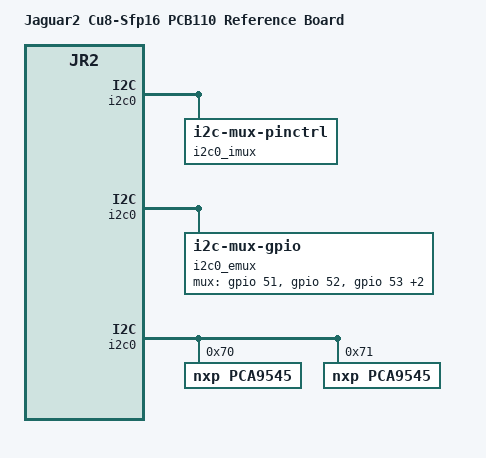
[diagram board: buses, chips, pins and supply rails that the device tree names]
// SPDX-License-Identifier: (GPL-2.0+ OR MIT)
/*
 * Copyright (c) 2020 Microsemi Corporation
 */

/dts-v1/;
#include "jaguar2_common.dtsi"
#include <dt-bindings/gpio/gpio.h>

/ {
	model = "Jaguar2 Cu8-Sfp16 PCB110 Reference Board";
	compatible = "mscc,jr2-pcb110", "mscc,jr2";

	aliases {
		i2c0    = &i2c0;
		i2c108  = &i2c108;
		i2c109  = &i2c109;
		i2c110  = &i2c110;
		i2c111  = &i2c111;
		i2c112  = &i2c112;
		i2c113  = &i2c113;
		i2c114  = &i2c114;
		i2c115  = &i2c115;
		i2c116  = &i2c116;
		i2c117  = &i2c117;
		i2c118  = &i2c118;
		i2c119  = &i2c119;
		i2c120  = &i2c120;
		i2c121  = &i2c121;
		i2c122  = &i2c122;
		i2c123  = &i2c123;
		i2c124  = &i2c124;
		i2c125  = &i2c125;
		i2c126  = &i2c126;
		i2c127  = &i2c127;
		i2c128  = &i2c128;
		i2c129  = &i2c129;
		i2c130  = &i2c130;
		i2c131  = &i2c131;
		i2c149  = &i2c149;
		i2c150  = &i2c150;
		i2c151  = &i2c151;
		i2c152  = &i2c152;
	};
	i2c0_imux: i2c0-imux {
		compatible = "i2c-mux-pinctrl";
		#address-cells = <1>;
		#size-cells = <0>;
		i2c-parent = <&i2c0>;
		pinctrl-names =
			"i2c149", "i2c150", "i2c151", "i2c152", "idle";
		pinctrl-0 = <&i2cmux_0>;
		pinctrl-1 = <&i2cmux_1>;
		pinctrl-2 = <&i2cmux_2>;
		pinctrl-3 = <&i2cmux_3>;
		pinctrl-4 = <&i2cmux_pins_i>;
		i2c149: i2c@0 {
			reg = <0x0>;
			#address-cells = <1>;
			#size-cells = <0>;
		};
		i2c150: i2c@1 {
			reg = <0x1>;
			#address-cells = <1>;
			#size-cells = <0>;
		};
		i2c151: i2c@2 {
			reg = <0x2>;
			#address-cells = <1>;
			#size-cells = <0>;
		};
		i2c152: i2c@3 {
			reg = <0x3>;
			#address-cells = <1>;
			#size-cells = <0>;
		};
	};
	i2c0_emux: i2c0-emux {
		compatible = "i2c-mux-gpio";
		#address-cells = <1>;
		#size-cells = <0>;
		i2c-parent = <&i2c0>;
		mux-gpios = <&gpio 51 GPIO_ACTIVE_HIGH
			     &gpio 52 GPIO_ACTIVE_HIGH
			     &gpio 53 GPIO_ACTIVE_HIGH
			     &gpio 58 GPIO_ACTIVE_HIGH
			     &gpio 59 GPIO_ACTIVE_HIGH>;
		idle-state = <0x0>;
		i2c108: i2c@10 {
			reg = <0x10>;
			#address-cells = <1>;
			#size-cells = <0>;
		};
		i2c109: i2c@11 {
			reg = <0x11>;
			#address-cells = <1>;
			#size-cells = <0>;
		};
		i2c110: i2c@12 {
			reg = <0x12>;
			#address-cells = <1>;
			#size-cells = <0>;
		};
		i2c111: i2c@13 {
			reg = <0x13>;
			#address-cells = <1>;
			#size-cells = <0>;
		};
		i2c112: i2c@14 {
			reg = <0x14>;
			#address-cells = <1>;
			#size-cells = <0>;
		};
		i2c113: i2c@15 {
			reg = <0x15>;
			#address-cells = <1>;
			#size-cells = <0>;
		};
		i2c114: i2c@16 {
			reg = <0x16>;
			#address-cells = <1>;
			#size-cells = <0>;
		};
		i2c115: i2c@17 {
			reg = <0x17>;
			#address-cells = <1>;
			#size-cells = <0>;
		};
		i2c116: i2c@8 {
			reg = <0x8>;
			#address-cells = <1>;
			#size-cells = <0>;
		};
		i2c117: i2c@9 {
			reg = <0x9>;
			#address-cells = <1>;
			#size-cells = <0>;
		};
		i2c118: i2c@a {
			reg = <0xa>;
			#address-cells = <1>;
			#size-cells = <0>;
		};
		i2c119: i2c@b {
			reg = <0xb>;
			#address-cells = <1>;
			#size-cells = <0>;
		};
		i2c120: i2c@c {
			reg = <0xc>;
			#address-cells = <1>;
			#size-cells = <0>;
		};
		i2c121: i2c@d {
			reg = <0xd>;
			#address-cells = <1>;
			#size-cells = <0>;
		};
		i2c122: i2c@e {
			reg = <0xe>;
			#address-cells = <1>;
			#size-cells = <0>;
		};
		i2c123: i2c@f {
			reg = <0xf>;
			#address-cells = <1>;
			#size-cells = <0>;
		};
	};
};

&gpio {
	synce_pins: synce-pins {
		// GPIO 16 == SI_nCS1
		pins = "GPIO_16";
		function = "si";
	};
	synce_builtin_pins: synce-builtin-pins {
		// GPIO 49 == SI_nCS13
		pins = "GPIO_49";
		function = "si";
	};
	i2cmux_pins_i: i2cmux-pins-i {
		pins = "GPIO_17", "GPIO_18", "GPIO_20", "GPIO_21";
		function = "twi_scl_m";
		output-low;
	};
	i2cmux_0: i2cmux-0 {
		pins = "GPIO_17";
		function = "twi_scl_m";
		output-high;
	};
	i2cmux_1: i2cmux-1 {
		pins = "GPIO_18";
		function = "twi_scl_m";
		output-high;
	};
	i2cmux_2: i2cmux-2 {
		pins = "GPIO_20";
		function = "twi_scl_m";
		output-high;
	};
	i2cmux_3: i2cmux-3 {
		pins = "GPIO_21";
		function = "twi_scl_m";
		output-high;
	};
};

&i2c0 {
	pca9545@70 {
		compatible = "nxp,pca9545";
		reg = <0x70>;
		#address-cells = <1>;
		#size-cells = <0>;
		i2c-mux-idle-disconnect;
		i2c124: i2c@0 {
			#address-cells = <1>;
			#size-cells = <0>;
			reg = <0>;
		};
		i2c125: i2c@1 {
			/* FMC B */
			#address-cells = <1>;
			#size-cells = <0>;
			reg = <1>;
		};
		i2c126: i2c@2 {
			#address-cells = <1>;
			#size-cells = <0>;
			reg = <2>;
		};
		i2c127: i2c@3 {
			#address-cells = <1>;
			#size-cells = <0>;
			reg = <3>;
		};
	};
	pca9545@71 {
		compatible = "nxp,pca9545";
		reg = <0x71>;
		#address-cells = <1>;
		#size-cells = <0>;
		i2c-mux-idle-disconnect;
		i2c128: i2c@0 {
			#address-cells = <1>;
			#size-cells = <0>;
			reg = <0>;
		};
		i2c129: i2c@1 {
			/* FMC B */
			#address-cells = <1>;
			#size-cells = <0>;
			reg = <1>;
		};
		i2c130: i2c@2 {
			#address-cells = <1>;
			#size-cells = <0>;
			reg = <2>;
		};
		i2c131: i2c@3 {
			#address-cells = <1>;
			#size-cells = <0>;
			reg = <3>;
		};
	};
};
